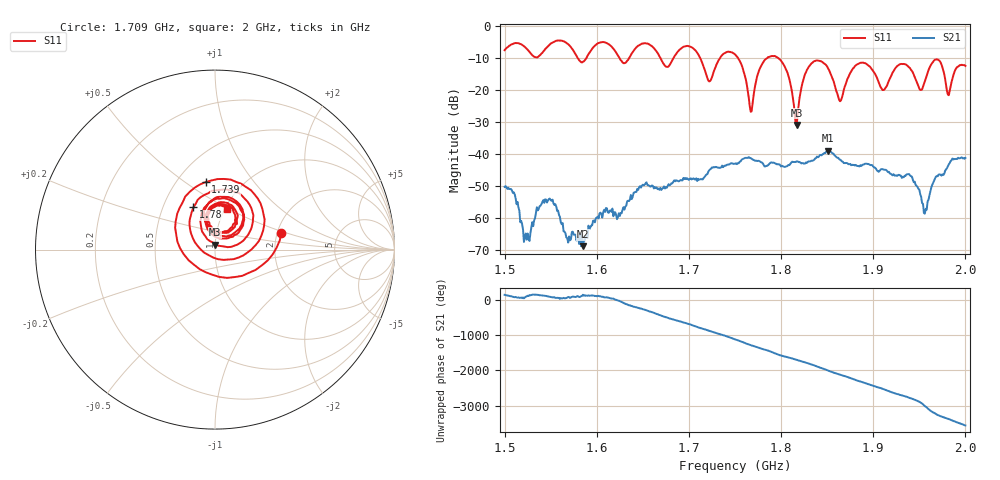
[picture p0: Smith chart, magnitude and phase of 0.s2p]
! NanoVNA-App by SYSJOINT et al v1.1.209 (+OD18)
! Date: 2026-01-21 14:27:42
! Start: 1,5GHz Stop: 2GHz Points: 501
! S-Parameter data: F S11 S21 S12 S22
# Hz S RI R 50
!  Frequency  S11_Real  S11_Imag  S21_Real  S21_Imag  S12_Real  S12_Imag  S22_Real  S22_Imag
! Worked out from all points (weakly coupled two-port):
!   501 points, 1.5 GHz to 2 GHz, reference 50 ohm
!   highest |S21| = -39.00 dB at 1.851 GHz (marker M1); lowest = -68.8 dB at 1.585 GHz (marker M2)
!   lowest |S11| = -30.9 dB at 1.817 GHz (marker M3), VSWR 1.06, Z = 49.8 + j2.83 ohm
!   |S11| at or under -10 dB: 1.712 GHz to 1.734 GHz (21.53 MHz wide, 1.25 % of centre); 1.753 GHz to 1.785 GHz (31.6 MHz wide, 1.79 % of centre); 1.797 GHz to end of sweep (the widest 3 of 6)
!   S12 and S22 are empty: the file has one direction only
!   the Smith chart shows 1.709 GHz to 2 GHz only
!   S11 on the Smith chart (normalised r, x): 1.709 GHz: 2.11, +0.47; 1.739 GHz: 0.68, +0.60; 1.78 GHz: 0.71, +0.36; 2 GHz: 1.03, +0.50
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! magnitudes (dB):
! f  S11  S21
! 1.5 GHz  -7.5  -50.3
! 1.523 GHz  -6.8  -64.9
! 1.55 GHz  -5.5  -54.4
! 1.584 GHz  -11.4  -65.1
! 1.585 GHz  -11.2  -68.8
! 1.667 GHz  -8.9  -50.8
! 1.709 GHz  -8.4  -48.5
! 1.722 GHz  -17.3  -45.1
! 1.739 GHz  -8.4  -43.6
! 1.75 GHz  -8.8  -43.0
! 1.767 GHz  -26.8  -41.3
! 1.78 GHz  -11.6  -42.9
! 1.802 GHz  -11.6  -43.9
! 1.817 GHz  -30.9  -42.3
! 1.834 GHz  -11.5  -42.1
! 1.851 GHz  -13.2  -39.0
! 1.864 GHz  -23.5  -41.8
! 1.885 GHz  -11.6  -43.9
! 1.917 GHz  -17.1  -45.6
! 1.956 GHz  -17.3  -58.6
! 1.982 GHz  -21.6  -43.2
! 2 GHz  -12.4  -41.2
